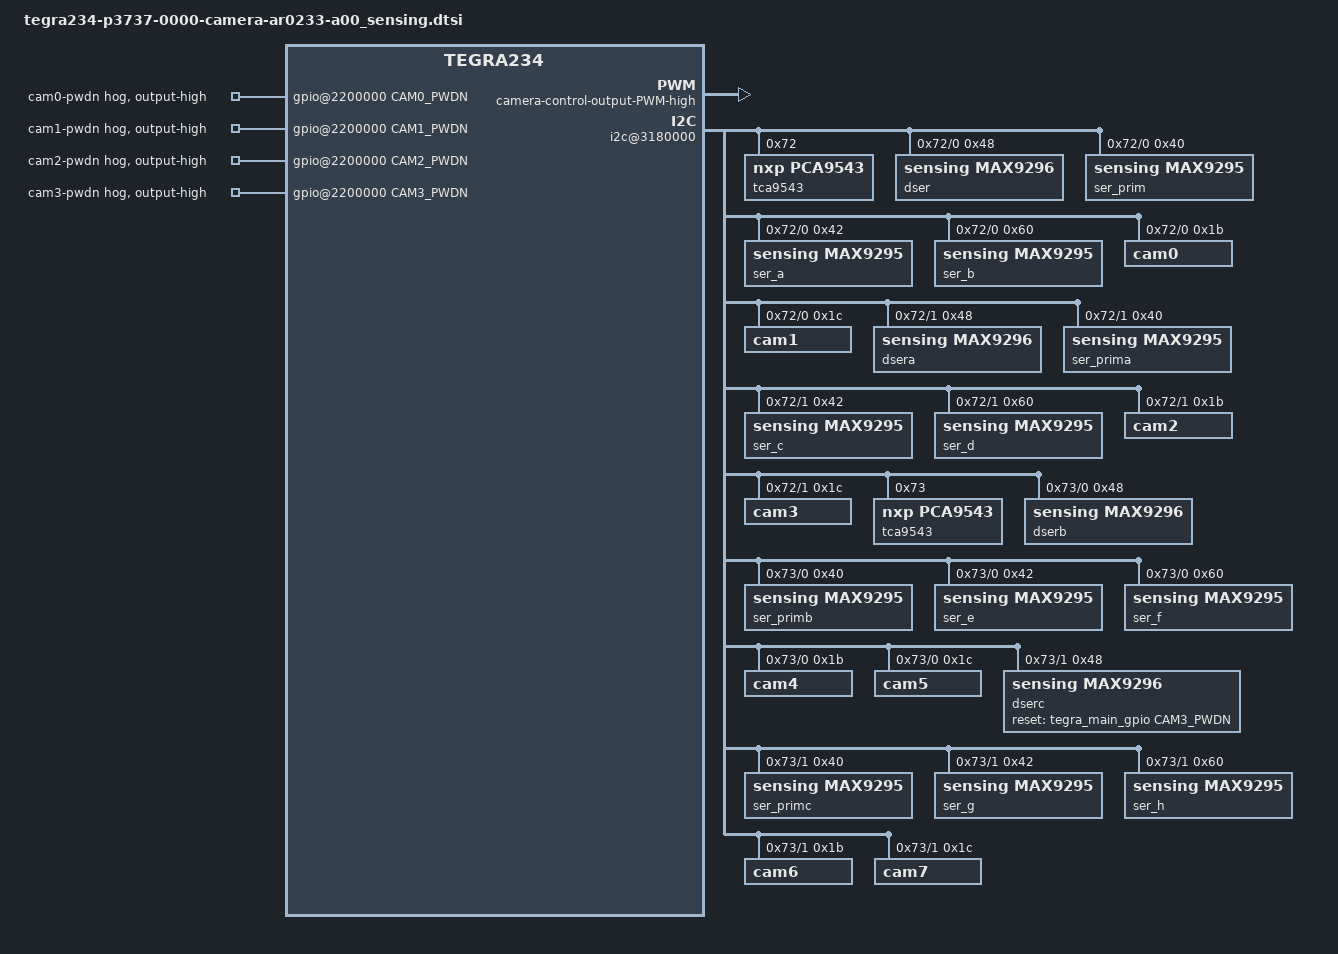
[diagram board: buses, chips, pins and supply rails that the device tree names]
/*
 * Copyright (c) 2018-2021, NVIDIA CORPORATION.  All rights reserved.
 *
 * This program is free software; you can redistribute it and/or modify it
 * under the terms and conditions of the GNU General Public License,
 * version 2, as published by the Free Software Foundation.
 *
 * This program is distributed in the hope it will be useful, but WITHOUT
 * ANY WARRANTY; without even the implied warranty of MERCHANTABILITY or
 * FITNESS FOR A PARTICULAR PURPOSE.  See the GNU General Public License for
 * more details.
 *
 * You should have received a copy of the GNU General Public License
 * along with this program.  If not, see <http://www.gnu.org/licenses/>.
 */
#include <t234-common-modules/tegra234-camera-ar0233-a00_sensing.dtsi>
#include "dt-bindings/clock/tegra234-clock.h"


#define CAM0_PWDN	TEGRA234_MAIN_GPIO(H, 6)
#define CAM1_PWDN	TEGRA234_MAIN_GPIO(AC, 0)
#define CAM2_PWDN	TEGRA234_MAIN_GPIO(H, 3)
#define CAM3_PWDN	TEGRA234_MAIN_GPIO(AC, 1)
#define CAM_PWM		TEGRA234_MAIN_GPIO(M, 7)
#define CAMERA_I2C_MUX_BUS(x) (0x1E + x)

/* camera control gpio definitions */

/ {
		gpio@2200000 {
	
		camera-control-output-CAM0-high {
                        status = "okay";
                        gpio-hog;
                        gpios = <CAM0_PWDN 0>;
                        output-high;
                        label = "cam0-pwdn";
                };
		camera-control-output-CAM1-high {
                        status = "okay";
                        gpio-hog;
                        gpios = <CAM1_PWDN 0>;
                        output-high;
                        label = "cam1-pwdn";
                };
                camera-control-output-CAM2-high {
                        status = "okay";
                        gpio-hog;
                        gpios = <CAM2_PWDN 0>;
                        output-high;
                        label = "cam2-pwdn";
                };
                camera-control-output-CAM3-high {
                        status = "okay";
                        gpio-hog;
                        gpios = <CAM3_PWDN 0>;
                        output-high;
                        label = "cam3-pwdn";
                };
                camera-control-output-PWM-high {
                        status = "okay";
                        gpio-hog;
                        gpios = <CAM_PWM 0>;
                        output-high;
                        label = "cam-pwm";
                };
	};
	i2c@3180000 {
		tca9543@72 {
			compatible = "nxp,pca9543";
			reg = <0x72>;
			#address-cells = <1>;
			#size-cells = <0>;
			skip_mux_detect = "yes";
			force_bus_start = <CAMERA_I2C_MUX_BUS(0)>;
			i2c-mux-idle-disconnect;
			i2c@0 {
				reg = <0>;
				i2c-mux,deselect-on-exit;
				#address-cells = <1>;
				#size-cells = <0>;
				i2c-mux-idle-disconnect;
				dser: max9296@48 {
					compatible = "sensing,max9296";
					reg = <0x48>;
					csi-mode = "2x4";
					max-src = <2>;
					//fsync-gpio = <6>; //fsync gpio on 9296
					//reset-gpios = <&tegra_main_gpio CAM0_PWDN GPIO_ACTIVE_HIGH>;
				};
				ser_prim: max9295_prim@40 {
					compatible = "sensing,max9295";
					reg = <0x40>;
					is-prim-ser;
				};
				ser_a: max9295_a@42 {
					compatible = "sensing,max9295";
					reg = <0x42>;
					nvidia,gmsl-dser-device = <&dser>;
				};
				ser_b: max9295_b@60 {
					compatible = "sensing,max9295";
					reg = <0x60>;
					nvidia,gmsl-dser-device = <&dser>;
				};
				cam0@1b {
					reg = <0x1b>;
					
					/* Define any required hw resources needed by driver */
					/* ie. clocks, io pins, power sources */
					clocks = <&bpmp_clks TEGRA234_CLK_EXTPERIPH1>,
							<&bpmp_clks TEGRA234_CLK_EXTPERIPH1>;
					clock-names = "extperiph1", "pllp_grtba";
					mclk = "extperiph1";
					nvidia,gmsl-ser-device = <&ser_a>;
					nvidia,gmsl-dser-device = <&dser>;
				};
				cam1@1c {
					reg = <0x1c>;
					
					/* Define any required hw resources needed by driver */
					/* ie. clocks, io pins, power sources */
					clocks = <&bpmp_clks TEGRA234_CLK_EXTPERIPH1>,
							<&bpmp_clks TEGRA234_CLK_EXTPERIPH1>;
					clock-names = "extperiph1", "pllp_grtba";
					mclk = "extperiph1";
					nvidia,gmsl-ser-device = <&ser_b>;
					nvidia,gmsl-dser-device = <&dser>;
				};
			};
			i2c@1 {
				reg = <1>;
				i2c-mux,deselect-on-exit;
				#address-cells = <1>;
				#size-cells = <0>;
				i2c-mux-idle-disconnect;
				dsera: max9296@48 {
					compatible = "sensing,max9296";
					reg = <0x48>;
					csi-mode = "2x4";
					max-src = <2>;
					//reset-gpios = <&tegra_main_gpio CAM1_PWDN GPIO_ACTIVE_HIGH>;
                                        //fsync-gpio = <6>; //fsync gpio on 9296
				};
				ser_prima: max9295_prim@40 {
					compatible = "sensing,max9295";
					//streams = "yuv8";
					reg = <0x40>;
					is-prim-ser;
				};
				ser_c: max9295_a@42 {
					compatible = "sensing,max9295";
					reg = <0x42>;
					nvidia,gmsl-dser-device = <&dsera>;
				};
				ser_d: max9295_b@60 {
					compatible = "sensing,max9295";
					reg = <0x60>;
					nvidia,gmsl-dser-device = <&dsera>;
				};
				cam2@1b{
					reg = <0x1b>;
						
					clocks = <&bpmp_clks TEGRA234_CLK_EXTPERIPH1>,
							<&bpmp_clks TEGRA234_CLK_EXTPERIPH1>;
					clock-names = "extperiph1", "pllp_grtba";
					mclk = "extperiph1";
					nvidia,gmsl-ser-device = <&ser_c>;
					nvidia,gmsl-dser-device = <&dsera>;
				};
				cam3@1c {
					reg = <0x1c>;
						
					clocks = <&bpmp_clks TEGRA234_CLK_EXTPERIPH1>,
							<&bpmp_clks TEGRA234_CLK_EXTPERIPH1>;
					clock-names = "extperiph1", "pllp_grtba";
					mclk = "extperiph1";
					nvidia,gmsl-ser-device = <&ser_d>;
					nvidia,gmsl-dser-device = <&dsera>;
				};
			};

		};
		tca9543@73 {
			compatible = "nxp,pca9543";
			reg = <0x73>;
			#address-cells = <1>;
			#size-cells = <0>;
			skip_mux_detect = "yes";
			force_bus_start = <CAMERA_I2C_MUX_BUS(2)>;
			i2c-mux-idle-disconnect;
			i2c@0 {
				reg = <0>;
				i2c-mux,deselect-on-exit;
				address-cells = <1>;
				#size-cells = <0>;
				i2c-mux-idle-disconnect;
				dserb: max9296@48 {
					compatible = "sensing,max9296";
					//streams = "yuv8";
					reg = <0x48>;
					csi-mode = "2x4";
					max-src = <2>;
					//reset-gpios = <&tegra_main_gpio CAM2_PWDN GPIO_ACTIVE_HIGH>;
                                        //fsync-gpio = <6>; //fsync gpio on 9296
				};
				ser_primb: max9295_prim@40 {
					compatible = "sensing,max9295";
					//streams = "yuv8";
					reg = <0x40>;
					is-prim-ser;
				};
				ser_e: max9295_a@42 {
					compatible = "sensing,max9295";
					reg = <0x42>;
					nvidia,gmsl-dser-device = <&dserb>;
				};
				ser_f: max9295_b@60 {
					compatible = "sensing,max9295";
					reg = <0x60>;
					nvidia,gmsl-dser-device = <&dserb>;
				};
				cam4@1b {
					reg = <0x1b>;
					
					/* Define any required hw resources needed by driver */
					/* ie. clocks, io pins, power sources */
					clocks = <&bpmp_clks TEGRA234_CLK_EXTPERIPH1>,
							<&bpmp_clks TEGRA234_CLK_EXTPERIPH1>;
					clock-names = "extperiph1", "pllp_grtba";
					mclk = "extperiph1";
					nvidia,gmsl-ser-device = <&ser_e>;
					nvidia,gmsl-dser-device = <&dserb>;
				};
				cam5@1c {
					reg = <0x1c>;
					
					/* Define any required hw resources needed by driver */
					/* ie. clocks, io pins, power sources */
					clocks = <&bpmp_clks TEGRA234_CLK_EXTPERIPH1>,
							<&bpmp_clks TEGRA234_CLK_EXTPERIPH1>;
					clock-names = "extperiph1", "pllp_grtba";
					mclk = "extperiph1";
					nvidia,gmsl-ser-device = <&ser_f>;
					nvidia,gmsl-dser-device = <&dserb>;
				};
			};
			i2c@1 {
				reg = <1>;
				i2c-mux,deselect-on-exit;
				#address-cells = <1>;
				#size-cells = <0>;
				i2c-mux-idle-disconnect;
				dserc: max9296@48 {
					compatible = "sensing,max9296";
					//streams = "yuv8";
					reg = <0x48>;
					csi-mode = "2x4";
					max-src = <2>;
					reset-gpios = <&tegra_main_gpio CAM3_PWDN GPIO_ACTIVE_HIGH>;
                                        fsync-gpio = <6>; //fsync gpio on 9296
				};
				ser_primc: max9295_prim@40 {
					compatible = "sensing,max9295";
					//streams = "yuv8";
					reg = <0x40>;
					is-prim-ser;
				};
				ser_g: max9295_a@42 {
					compatible = "sensing,max9295";
					reg = <0x42>;
					nvidia,gmsl-dser-device = <&dserc>;
				};
				ser_h: max9295_b@60 {
					compatible = "sensing,max9295";
					reg = <0x60>;
					nvidia,gmsl-dser-device = <&dserc>;
				};
				cam6@1b {
					reg = <0x1b>;
					
					clocks = <&bpmp_clks TEGRA234_CLK_EXTPERIPH1>,
							<&bpmp_clks TEGRA234_CLK_EXTPERIPH1>;
					clock-names = "extperiph1", "pllp_grtba";
					mclk = "extperiph1";
					nvidia,gmsl-ser-device = <&ser_g>;
					nvidia,gmsl-dser-device = <&dserc>;
				};
				cam7@1c {
					reg = <0x1c>;
					
					clocks = <&bpmp_clks TEGRA234_CLK_EXTPERIPH1>,
							<&bpmp_clks TEGRA234_CLK_EXTPERIPH1>;
					clock-names = "extperiph1", "pllp_grtba";
					mclk = "extperiph1";
					nvidia,gmsl-ser-device = <&ser_h>;
					nvidia,gmsl-dser-device = <&dserc>;
				};
			};

		};
	};
};
